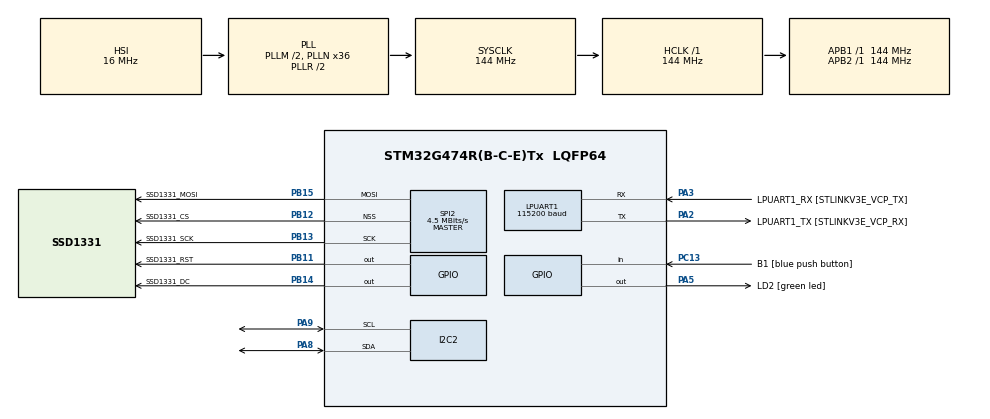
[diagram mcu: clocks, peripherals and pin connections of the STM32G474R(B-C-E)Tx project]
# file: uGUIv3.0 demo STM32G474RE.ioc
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Dma.Request0=SPI2_TX
Dma.SPI2_TX.0.Direction=DMA_MEMORY_TO_PERIPH
Dma.SPI2_TX.0.EventEnable=DISABLE
Dma.SPI2_TX.0.Instance=DMA1_Channel1
Dma.SPI2_TX.0.MemDataAlignment=DMA_MDATAALIGN_BYTE
Dma.SPI2_TX.0.MemInc=DMA_MINC_ENABLE
Dma.SPI2_TX.0.Mode=DMA_NORMAL
Dma.SPI2_TX.0.PeriphDataAlignment=DMA_PDATAALIGN_BYTE
Dma.SPI2_TX.0.PeriphInc=DMA_PINC_DISABLE
Dma.SPI2_TX.0.Polarity=HAL_DMAMUX_REQ_GEN_RISING
Dma.SPI2_TX.0.Priority=DMA_PRIORITY_MEDIUM
Dma.SPI2_TX.0.RequestNumber=1
Dma.SPI2_TX.0.SignalID=NONE
Dma.SPI2_TX.0.SyncEnable=DISABLE
Dma.SPI2_TX.0.SyncPolarity=HAL_DMAMUX_SYNC_NO_EVENT
Dma.SPI2_TX.0.SyncRequestNumber=1
Dma.SPI2_TX.0.SyncSignalID=NONE
FREERTOS.Tasks01=defaultTask,0,1024,StartDefaultTask,Default,NULL,Dynamic,NULL,NULL;updateDisplay,0,256,StartUpdate,Default,NULL,Dynamic,NULL,NULL
FREERTOS.configCHECK_FOR_STACK_OVERFLOW=2
FREERTOS.configGENERATE_RUN_TIME_STATS=1
FREERTOS.configRECORD_STACK_HIGH_ADDRESS=1
FREERTOS.configTOTAL_HEAP_SIZE=6502
FREERTOS.configUSE_MALLOC_FAILED_HOOK=1
FREERTOS.configUSE_STATS_FORMATTING_FUNCTIONS=1
FREERTOS.configUSE_TICK_HOOK=0
FREERTOS.configUSE_TRACE_FACILITY=1
I2C2.Timing=0x20B0D9FF
LPUART1.BaudRate=115200
LPUART1.WordLength=UART_WORDLENGTH_8B
Mcu.Family=STM32G4
Mcu.Name=STM32G474R(B-C-E)Tx
Mcu.Package=LQFP64
NVIC.DMA1_Channel1_IRQn=true\:5\:0\:false\:false\:true\:true\:false\:true
NVIC.PriorityGroup=NVIC_PRIORITYGROUP_4
NVIC.TIM1_TRG_COM_TIM17_IRQn=true\:5\:0\:false\:false\:true\:true\:true\:true
NVIC.TIM6_DAC_IRQn=true\:0\:0\:false\:false\:true\:false\:false\:true
NVIC.TimeBase=TIM6_DAC_IRQn
NVIC.TimeBaseIP=TIM6
PA13.GPIO_Label=T_SWDIO
PA13.Mode=Serial_Wire
PA13.Signal=SYS_JTMS-SWDIO
PA14.GPIO_Label=T_SWCLK
PA14.Mode=Serial_Wire
PA14.Signal=SYS_JTCK-SWCLK
PA2.GPIO_Label=LPUART1_TX [STLINKV3E_VCP_RX]
PA2.Mode=Asynchronous
PA2.Signal=LPUART1_TX
PA3.GPIO_Label=LPUART1_RX [STLINKV3E_VCP_TX]
PA3.Mode=Asynchronous
PA3.Signal=LPUART1_RX
PA5.GPIO_Label=LD2 [green led]
PA5.Signal=GPIO_Output
PA8.Mode=I2C
PA8.Signal=I2C2_SDA
PA9.Mode=I2C
PA9.Signal=I2C2_SCL
PB11.GPIO_Label=SSD1331_RST
PB11.Signal=GPIO_Output
PB12.GPIO_Label=SSD1331_CS
PB12.GPIO_PuPd=GPIO_PULLUP
PB12.Mode=NSS_Signal_Hard_Output
PB12.Signal=SPI2_NSS
PB13.GPIO_Label=SSD1331_SCK
PB13.Mode=TX_Only_Simplex_Unidirect_Master
PB13.Signal=SPI2_SCK
PB14.GPIO_Label=SSD1331_DC
PB14.Signal=GPIO_Output
PB15.GPIO_Label=SSD1331_MOSI
PB15.Mode=TX_Only_Simplex_Unidirect_Master
PB15.Signal=SPI2_MOSI
PB3.GPIO_Label=T_SWO
PB3.Signal=SYS_JTDO-SWO
PC13.GPIO_Label=B1 [blue push button]
PC13.Signal=GPIO_Input
PC14-OSC32_IN.Mode=LSE-External-Oscillator
PC14-OSC32_IN.Signal=RCC_OSC32_IN
PC15-OSC32_OUT.Mode=LSE-External-Oscillator
PC15-OSC32_OUT.Signal=RCC_OSC32_OUT
PF0-OSC_IN.Mode=HSE-External-Oscillator
PF0-OSC_IN.Signal=RCC_OSC_IN
PF1-OSC_OUT.Mode=HSE-External-Oscillator
PF1-OSC_OUT.Signal=RCC_OSC_OUT
ProjectManager.HeapSize=0x200
ProjectManager.StackSize=0x400
ProjectManager.TargetToolchain=STM32CubeIDE
RCC.ADC12Freq_Value=144000000
RCC.ADC345Freq_Value=144000000
RCC.AHBFreq_Value=144000000
RCC.APB1Freq_Value=144000000
RCC.APB1TimFreq_Value=144000000
RCC.APB2Freq_Value=144000000
RCC.APB2TimFreq_Value=144000000
RCC.CortexFreq_Value=144000000
RCC.EXTERNAL_CLOCK_VALUE=12288000
RCC.HCLKFreq_Value=144000000
RCC.HSE_VALUE=24000000
RCC.HSI48_VALUE=48000000
RCC.HSI_VALUE=16000000
RCC.PLLM=RCC_PLLM_DIV2
RCC.PLLN=36
RCC.PLLQ=RCC_PLLQ_DIV6
RCC.RTCClockSelection=RCC_RTCCLKSOURCE_LSE
RCC.SYSCLKFreq_VALUE=144000000
RCC.SYSCLKSource=RCC_SYSCLKSOURCE_PLLCLK
RCC.USBFreq_Value=48000000
RCC.VCOOutputFreq_Value=288000000
SPI2.BaudRatePrescaler=SPI_BAUDRATEPRESCALER_32
SPI2.CalculateBaudRate=4.5 MBits/s
SPI2.DataSize=SPI_DATASIZE_8BIT
SPI2.Direction=SPI_DIRECTION_2LINES
SPI2.Mode=SPI_MODE_MASTER
SPI2.VirtualNSS=VM_NSSHARD
SPI2.VirtualType=VM_MASTER
TIM17.PeriodNoDither=1440
VP_FREERTOS_VS_CMSIS_V1.Mode=CMSIS_V1
VP_SYS_VS_DBSignals.Mode=DisableDeadBatterySignals
VP_SYS_VS_tim6.Mode=TIM6
VP_TIM17_VS_ClockSourceINT.Mode=Enable_Timer
board=NUCLEO-G474RE

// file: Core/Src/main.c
/* USER CODE BEGIN Header */
/**
 ******************************************************************************
 * @file           : main.c
 * @brief          : Main program body
 ******************************************************************************
 * @attention
 *
 * <h2><center>&copy; Copyright (c) 2020 STMicroelectronics.
 * All rights reserved.</center></h2>
 *
 * This software component is licensed by ST under BSD 3-Clause license,
 * the "License"; You may not use this file except in compliance with the
 * License. You may obtain a copy of the License at:
 *                        opensource.org/licenses/BSD-3-Clause
 *
 ******************************************************************************
 */
/* USER CODE END Header */

#include <image.h>
#include "main.h"
#include "cmsis_os.h"

/* USER CODE BEGIN Includes */

#include "stdio.h"
#include "ssd1331.h"
#include "ugui.h"
// #include "image.h"

/* USER CODE END Includes */

I2C_HandleTypeDef hi2c2;

UART_HandleTypeDef hlpuart1;

SPI_HandleTypeDef hspi2;
DMA_HandleTypeDef hdma_spi2_tx;

TIM_HandleTypeDef htim17;

osThreadId defaultTaskHandle;
osThreadId updateDisplayHandle;

void SystemClock_Config(void);
static void MX_GPIO_Init(void);
static void MX_DMA_Init(void);
static void MX_LPUART1_UART_Init(void);
static void MX_I2C2_Init(void);
static void MX_SPI2_Init(void);
static void MX_TIM17_Init(void);
void StartDefaultTask(void const * argument);
void StartUpdate(void const * argument);

/* USER CODE BEGIN 0 */

int uxTopUsedPriority = configMAX_PRIORITIES - 1; // FreeRTOS/OCD debug workaround

volatile unsigned long ulHighFrequencyTimerTicks = 0;

unsigned long getRunTimeCounterValue(void)
{
	return ulHighFrequencyTimerTicks;
}

/* GUI structure */
UG_GUI gui;

/* Touch structure */
//static TP_STATE *TP_State;
/* Some defines */
#define MAX_OBJECTS        10
#define TOGGLE_GREEN_LED   HAL_GPIO_TogglePin(LD2_GPIO_Port, LD2_Pin);
//#define TOGGLE_RED_LED     GPIO_ToggleBits(GPIOG,GPIO_Pin_14);

/* Window 1 */
UG_WINDOW window_1;
UG_OBJECT obj_buff_wnd_1[MAX_OBJECTS];
UG_BUTTON button1_1;
UG_BUTTON button1_2;
UG_BUTTON button1_3;
UG_BUTTON button1_4;
UG_BUTTON button1_5;
UG_BUTTON button1_6;

/* Window 2 */
UG_WINDOW window_2;
UG_OBJECT obj_buff_wnd_2[MAX_OBJECTS];
UG_BUTTON button2_1;
UG_TEXTBOX textbox2_1;
UG_TEXTBOX textbox2_2;
UG_IMAGE image2_1;

/* Window 3 */
UG_WINDOW window_3;
UG_OBJECT obj_buff_wnd_3[MAX_OBJECTS];
UG_BUTTON button3_1;
UG_TEXTBOX textbox3_1;

/* FSM */
#define STATE_MAIN_MENU                0
#define STATE_BENCHMARK_RUN            1
#define STATE_BENCHMARK_RESULT         2
volatile UG_U32 state;
volatile UG_U32 next_state;

/* Benchmark */
volatile UG_U32 timer;
volatile UG_U32 hw_acc = 1;
char result_str[30];
UG_S16 xs, ys;
UG_S16 xe, ye;
UG_COLOR c;

/* Callback function for the main menu */
void window_1_callback(UG_MESSAGE *msg)
{
	if (msg->type == MSG_TYPE_OBJECT)
	{
		if (msg->id == OBJ_TYPE_BUTTON)
		{
			switch (msg->sub_id)
			{
			case BTN_ID_0: /* Toggle green LED */
			{
				TOGGLE_GREEN_LED
				;
				break;
			}
			case BTN_ID_1: /* Toggle red LED */
			{
//				TOGGLE_RED_LED
				;
				break;
			}
			case BTN_ID_2: /* Show uGUI info */
			{
				UG_WindowShow(&window_2);
				break;
			}
			case BTN_ID_3: /* Toggle hardware acceleration */
			{
				if (!hw_acc)
				{
					UG_ButtonSetForeColor(&window_1, BTN_ID_3, C_RED);
					UG_ButtonSetText(&window_1, BTN_ID_3, "HW_ACC\nOFF");
					UG_DriverEnable( DRIVER_DRAW_LINE);
					UG_DriverEnable( DRIVER_FILL_FRAME);
				}
				else
				{
					UG_ButtonSetForeColor(&window_1, BTN_ID_3, C_BLUE);
					UG_ButtonSetText(&window_1, BTN_ID_3, "HW_ACC\nON");
					UG_DriverDisable( DRIVER_DRAW_LINE);
					UG_DriverDisable( DRIVER_FILL_FRAME);
				}
				hw_acc = !hw_acc;
				break;
			}
			case BTN_ID_4: /* Start benchmark */
			{
				next_state = STATE_BENCHMARK_RUN;
				break;
			}
			case BTN_ID_5: /* Resize window */
			{
				static UG_U32 tog;

				if (!tog)
				{
					UG_WindowResize(&window_1, 0, 40, 239, 319 - 40);
				}
				else
				{
					UG_WindowResize(&window_1, 0, 0, 239, 319);
				}
				tog = !tog;
				break;
			}
			}
		}
	}
}

/* Callback function for the info window */
void window_2_callback(UG_MESSAGE *msg)
{
	if (msg->type == MSG_TYPE_OBJECT)
	{
		if (msg->id == OBJ_TYPE_BUTTON)
		{
			switch (msg->sub_id)
			{
			case BTN_ID_0:
			{
				UG_WindowHide(&window_2);
				break;
			}
			}
		}
	}
}

/* Callback function for the result window */
void window_3_callback(UG_MESSAGE *msg)
{
	if (msg->type == MSG_TYPE_OBJECT)
	{
		if (msg->id == OBJ_TYPE_BUTTON)
		{
			switch (msg->sub_id)
			{
			/* OK button */
			case BTN_ID_0:
			{
				UG_WindowShow(&window_1);
				break;
			}
			}
		}
	}
}

/* better rand() function */
UG_U32 randx(void)
{
	static UG_U32 z1 = 12345, z2 = 12345, z3 = 12345, z4 = 12345;
	UG_U32 b;
	b = ((z1 << 6) ^ z1) >> 13;
	z1 = ((z1 & 4294967294U) << 18) ^ b;
	b = ((z2 << 2) ^ z2) >> 27;
	z2 = ((z2 & 4294967288U) << 2) ^ b;
	b = ((z3 << 13) ^ z3) >> 21;
	z3 = ((z3 & 4294967280U) << 7) ^ b;
	b = ((z4 << 3) ^ z4) >> 12;
	z4 = ((z4 & 4294967168U) << 13) ^ b;
	return (z1 ^ z2 ^ z3 ^ z4);
}

/**
 * @brief  Tx Transfer completed callback.
 * @param  hspi pointer to a SPI_HandleTypeDef structure that contains
 *               the configuration information for SPI module.
 * @retval None
 */
void HAL_SPI_TxCpltCallback(SPI_HandleTypeDef *hspi)
{
	/* Prevent unused argument(s) compilation warning */
	UNUSED(hspi);

	spi_event_handler();
}

/* USER CODE END 0 */

int main(void)
{

  /* MCU Configuration--------------------------------------------------------*/

  /* Reset of all peripherals, Initializes the Flash interface and the Systick. */
  HAL_Init();

  /* Configure the system clock */
  SystemClock_Config();

  /* Initialize all configured peripherals */
  MX_GPIO_Init();
  MX_DMA_Init();
  MX_LPUART1_UART_Init();
  MX_I2C2_Init();
  MX_SPI2_Init();
  MX_TIM17_Init();
  /* USER CODE BEGIN 2 */

	HAL_TIM_Base_Start_IT(&htim17);

	/* Init uGUI */
	UG_Init(&gui, (void (*)(UG_S16, UG_S16, UG_COLOR)) pset, SSD1331_WIDTH, SSD1331_HEIGHT );

  /* USER CODE END 2 */

  /* Create the thread(s) */
  /* definition and creation of defaultTask */
  osThreadDef(defaultTask, StartDefaultTask, osPriorityNormal, 0, 1024);
  defaultTaskHandle = osThreadCreate(osThread(defaultTask), NULL);

  /* definition and creation of updateDisplay */
  osThreadDef(updateDisplay, StartUpdate, osPriorityNormal, 0, 256);
  updateDisplayHandle = osThreadCreate(osThread(updateDisplay), NULL);

  /* Start scheduler */
  osKernelStart();

  /* We should never get here as control is now taken by the scheduler */

  /* Infinite loop */
	while (1)
	{

	}
}

void SystemClock_Config(void)
{
  RCC_OscInitTypeDef RCC_OscInitStruct = {0};
  RCC_ClkInitTypeDef RCC_ClkInitStruct = {0};
  RCC_PeriphCLKInitTypeDef PeriphClkInit = {0};

  /** Configure the main internal regulator output voltage
  */
  HAL_PWREx_ControlVoltageScaling(PWR_REGULATOR_VOLTAGE_SCALE1);
  /** Initializes the CPU, AHB and APB busses clocks
  */
  RCC_OscInitStruct.OscillatorType = RCC_OSCILLATORTYPE_HSI;
  RCC_OscInitStruct.HSIState = RCC_HSI_ON;
  RCC_OscInitStruct.HSICalibrationValue = RCC_HSICALIBRATION_DEFAULT;
  RCC_OscInitStruct.PLL.PLLState = RCC_PLL_ON;
  RCC_OscInitStruct.PLL.PLLSource = RCC_PLLSOURCE_HSI;
  RCC_OscInitStruct.PLL.PLLM = RCC_PLLM_DIV2;
  RCC_OscInitStruct.PLL.PLLN = 36;
  RCC_OscInitStruct.PLL.PLLP = RCC_PLLP_DIV2;
  RCC_OscInitStruct.PLL.PLLQ = RCC_PLLQ_DIV6;
  RCC_OscInitStruct.PLL.PLLR = RCC_PLLR_DIV2;
  if (HAL_RCC_OscConfig(&RCC_OscInitStruct) != HAL_OK)
  {
    Error_Handler();
  }
  /** Initializes the CPU, AHB and APB busses clocks
  */
  RCC_ClkInitStruct.ClockType = RCC_CLOCKTYPE_HCLK|RCC_CLOCKTYPE_SYSCLK
                              |RCC_CLOCKTYPE_PCLK1|RCC_CLOCKTYPE_PCLK2;
  RCC_ClkInitStruct.SYSCLKSource = RCC_SYSCLKSOURCE_PLLCLK;
  RCC_ClkInitStruct.AHBCLKDivider = RCC_SYSCLK_DIV1;
  RCC_ClkInitStruct.APB1CLKDivider = RCC_HCLK_DIV1;
  RCC_ClkInitStruct.APB2CLKDivider = RCC_HCLK_DIV1;

  if (HAL_RCC_ClockConfig(&RCC_ClkInitStruct, FLASH_LATENCY_7) != HAL_OK)
  {
    Error_Handler();
  }
  /** Initializes the peripherals clocks
  */
  PeriphClkInit.PeriphClockSelection = RCC_PERIPHCLK_LPUART1|RCC_PERIPHCLK_I2C2;
  PeriphClkInit.Lpuart1ClockSelection = RCC_LPUART1CLKSOURCE_PCLK1;
  PeriphClkInit.I2c2ClockSelection = RCC_I2C2CLKSOURCE_PCLK1;
  if (HAL_RCCEx_PeriphCLKConfig(&PeriphClkInit) != HAL_OK)
  {
    Error_Handler();
  }
}

static void MX_I2C2_Init(void)
{

  hi2c2.Instance = I2C2;
  hi2c2.Init.Timing = 0x20B0D9FF;
  hi2c2.Init.OwnAddress1 = 0;
  hi2c2.Init.AddressingMode = I2C_ADDRESSINGMODE_7BIT;
  hi2c2.Init.DualAddressMode = I2C_DUALADDRESS_DISABLE;
  hi2c2.Init.OwnAddress2 = 0;
  hi2c2.Init.OwnAddress2Masks = I2C_OA2_NOMASK;
  hi2c2.Init.GeneralCallMode = I2C_GENERALCALL_DISABLE;
  hi2c2.Init.NoStretchMode = I2C_NOSTRETCH_DISABLE;
  if (HAL_I2C_Init(&hi2c2) != HAL_OK)
  {
    Error_Handler();
  }
  /** Configure Analogue filter
  */
  if (HAL_I2CEx_ConfigAnalogFilter(&hi2c2, I2C_ANALOGFILTER_ENABLE) != HAL_OK)
  {
    Error_Handler();
  }
  /** Configure Digital filter
  */
  if (HAL_I2CEx_ConfigDigitalFilter(&hi2c2, 0) != HAL_OK)
  {
    Error_Handler();
  }

}

static void MX_LPUART1_UART_Init(void)
{

  hlpuart1.Instance = LPUART1;
  hlpuart1.Init.BaudRate = 115200;
  hlpuart1.Init.WordLength = UART_WORDLENGTH_8B;
  hlpuart1.Init.StopBits = UART_STOPBITS_1;
  hlpuart1.Init.Parity = UART_PARITY_NONE;
  hlpuart1.Init.Mode = UART_MODE_TX_RX;
  hlpuart1.Init.HwFlowCtl = UART_HWCONTROL_NONE;
  hlpuart1.Init.OneBitSampling = UART_ONE_BIT_SAMPLE_DISABLE;
  hlpuart1.AdvancedInit.AdvFeatureInit = UART_ADVFEATURE_NO_INIT;
  if (HAL_UART_Init(&hlpuart1) != HAL_OK)
  {
    Error_Handler();
  }
  if (HAL_UARTEx_SetTxFifoThreshold(&hlpuart1, UART_TXFIFO_THRESHOLD_1_8) != HAL_OK)
  {
    Error_Handler();
  }
  if (HAL_UARTEx_SetRxFifoThreshold(&hlpuart1, UART_RXFIFO_THRESHOLD_1_8) != HAL_OK)
  {
    Error_Handler();
  }
  if (HAL_UARTEx_DisableFifoMode(&hlpuart1) != HAL_OK)
  {
    Error_Handler();
  }

}

static void MX_SPI2_Init(void)
{

  /* SPI2 parameter configuration*/
  hspi2.Instance = SPI2;
  hspi2.Init.Mode = SPI_MODE_MASTER;
  hspi2.Init.Direction = SPI_DIRECTION_2LINES;
  hspi2.Init.DataSize = SPI_DATASIZE_8BIT;
  hspi2.Init.CLKPolarity = SPI_POLARITY_LOW;
  hspi2.Init.CLKPhase = SPI_PHASE_1EDGE;
  hspi2.Init.NSS = SPI_NSS_HARD_OUTPUT;
  hspi2.Init.BaudRatePrescaler = SPI_BAUDRATEPRESCALER_32;
  hspi2.Init.FirstBit = SPI_FIRSTBIT_MSB;
  hspi2.Init.TIMode = SPI_TIMODE_DISABLE;
  hspi2.Init.CRCCalculation = SPI_CRCCALCULATION_DISABLE;
  hspi2.Init.CRCPolynomial = 7;
  hspi2.Init.CRCLength = SPI_CRC_LENGTH_DATASIZE;
  hspi2.Init.NSSPMode = SPI_NSS_PULSE_ENABLE;
  if (HAL_SPI_Init(&hspi2) != HAL_OK)
  {
    Error_Handler();
  }

}

static void MX_TIM17_Init(void)
{

  htim17.Instance = TIM17;
  htim17.Init.Prescaler = 0;
  htim17.Init.CounterMode = TIM_COUNTERMODE_UP;
  htim17.Init.Period = 1440;
  htim17.Init.ClockDivision = TIM_CLOCKDIVISION_DIV1;
  htim17.Init.RepetitionCounter = 0;
  htim17.Init.AutoReloadPreload = TIM_AUTORELOAD_PRELOAD_DISABLE;
  if (HAL_TIM_Base_Init(&htim17) != HAL_OK)
  {
    Error_Handler();
  }

}

static void MX_DMA_Init(void)
{

  /* DMA controller clock enable */
  __HAL_RCC_DMAMUX1_CLK_ENABLE();
  __HAL_RCC_DMA1_CLK_ENABLE();

  /* DMA interrupt init */
  /* DMA1_Channel1_IRQn interrupt configuration */
  HAL_NVIC_SetPriority(DMA1_Channel1_IRQn, 5, 0);
  HAL_NVIC_EnableIRQ(DMA1_Channel1_IRQn);

}

static void MX_GPIO_Init(void)
{
  GPIO_InitTypeDef GPIO_InitStruct = {0};

  /* GPIO Ports Clock Enable */
  __HAL_RCC_GPIOC_CLK_ENABLE();
  __HAL_RCC_GPIOF_CLK_ENABLE();
  __HAL_RCC_GPIOA_CLK_ENABLE();
  __HAL_RCC_GPIOB_CLK_ENABLE();

  /*Configure GPIO pin Output Level */
  HAL_GPIO_WritePin(LD2_GPIO_Port, LD2_Pin, GPIO_PIN_RESET);

  /*Configure GPIO pin Output Level */
  HAL_GPIO_WritePin(GPIOB, SSD1331_RST_Pin|SSD1331_DC_Pin, GPIO_PIN_RESET);

  /*Configure GPIO pin : B1_Pin */
  GPIO_InitStruct.Pin = B1_Pin;
  GPIO_InitStruct.Mode = GPIO_MODE_INPUT;
  GPIO_InitStruct.Pull = GPIO_NOPULL;
  HAL_GPIO_Init(B1_GPIO_Port, &GPIO_InitStruct);

  /*Configure GPIO pin : LD2_Pin */
  GPIO_InitStruct.Pin = LD2_Pin;
  GPIO_InitStruct.Mode = GPIO_MODE_OUTPUT_PP;
  GPIO_InitStruct.Pull = GPIO_NOPULL;
  GPIO_InitStruct.Speed = GPIO_SPEED_FREQ_LOW;
  HAL_GPIO_Init(LD2_GPIO_Port, &GPIO_InitStruct);

  /*Configure GPIO pins : SSD1331_RST_Pin SSD1331_DC_Pin */
  GPIO_InitStruct.Pin = SSD1331_RST_Pin|SSD1331_DC_Pin;
  GPIO_InitStruct.Mode = GPIO_MODE_OUTPUT_PP;
  GPIO_InitStruct.Pull = GPIO_NOPULL;
  GPIO_InitStruct.Speed = GPIO_SPEED_FREQ_LOW;
  HAL_GPIO_Init(GPIOB, &GPIO_InitStruct);

}

void StartDefaultTask(void const * argument)
{
  /* USER CODE BEGIN 5 */

	ssd1331_init();

	/* Clear Screen */
	UG_FillScreen( C_BLACK);

	/* Create Window 1 */
	UG_WindowCreate(&window_1, obj_buff_wnd_1, MAX_OBJECTS, window_1_callback);
	UG_WindowSetTitleText(&window_1, "uGUI STM32F474RE");
	UG_WindowSetTitleTextFont(&window_1, &FONT_6X10);

	/* Create some Buttons */
	UG_ButtonCreate(&window_1, &button1_1, BTN_ID_0, 3, 3, 33, 20);
	UG_ButtonCreate(&window_1, &button1_2, BTN_ID_1, 3, 26, 33, 43);
	UG_ButtonCreate(&window_1, &button1_3, BTN_ID_2, 3, 50, 33, 67);
	UG_ButtonCreate(&window_1, &button1_4, BTN_ID_3, 40, 3,
			UG_WindowGetInnerWidth(&window_1) - 3, 20);
	UG_ButtonCreate(&window_1, &button1_5, BTN_ID_4, 40, 26,
			UG_WindowGetInnerWidth(&window_1) - 3, 43);
	UG_ButtonCreate(&window_1, &button1_6, BTN_ID_5, 40, 50,
			UG_WindowGetInnerWidth(&window_1) - 10, 67);

	/* Configure Button 1 */
	UG_ButtonSetFont(&window_1, BTN_ID_0, &FONT_4X6);
	UG_ButtonSetBackColor(&window_1, BTN_ID_0, C_GREEN);
	UG_ButtonSetText(&window_1, BTN_ID_0, "Green");
	/* Configure Button 2 */
	UG_ButtonSetFont(&window_1, BTN_ID_1, &FONT_4X6);
	UG_ButtonSetBackColor(&window_1, BTN_ID_1, C_RED);
	UG_ButtonSetText(&window_1, BTN_ID_1, "Red");
	/* Configure Button 3 */
	UG_ButtonSetFont(&window_1, BTN_ID_2, &FONT_4X6);
	UG_ButtonSetText(&window_1, BTN_ID_2, "About uGUI");
	UG_WindowShow(&window_1);
	/* Configure Button 4 */
	UG_ButtonSetFont(&window_1, BTN_ID_3, &FONT_4X6);
	UG_ButtonSetForeColor(&window_1, BTN_ID_3, C_RED);
	UG_ButtonSetText(&window_1, BTN_ID_3, "HW_ACC OFF");
	/* Configure Button 5 */
	UG_ButtonSetFont(&window_1, BTN_ID_4, &FONT_4X6);
	UG_ButtonSetText(&window_1, BTN_ID_4, "Start Benchmark");
	/* Configure Button 6 */
	UG_ButtonSetFont(&window_1, BTN_ID_5, &FONT_4X6);
	UG_ButtonSetText(&window_1, BTN_ID_5, "Resize Window");

	/* -------------------------------------------------------------------------------- */
	/* Create Window 2 (uGUI Info)                                                      */
	/* -------------------------------------------------------------------------------- */
	UG_WindowCreate(&window_2, obj_buff_wnd_2, MAX_OBJECTS, window_2_callback);
	UG_WindowSetTitleText(&window_2, "Info");
	UG_WindowSetTitleTextFont(&window_2, &FONT_6X10);
	UG_WindowResize(&window_2, 7, 13, 73, 93);

	/* Create Button 1 */
	UG_ButtonCreate(&window_2, &button2_1, BTN_ID_0, 7, 44,
			UG_WindowGetInnerWidth(&window_2) - 13, 63);
	UG_ButtonSetFont(&window_2, BTN_ID_0, &FONT_5X12);
	UG_ButtonSetText(&window_2, BTN_ID_0, "OK!");

	/* Create Textbox 1 */
	UG_TextboxCreate(&window_2, &textbox2_1, TXB_ID_0, 3, 3,
			UG_WindowGetInnerWidth(&window_2) - 3, 20);
	UG_TextboxSetFont(&window_2, TXB_ID_0, &FONT_5X8);
	UG_TextboxSetText(&window_2, TXB_ID_0, "uGUI v0.3");
	UG_TextboxSetAlignment(&window_2, TXB_ID_0, ALIGN_TOP_CENTER);

	/* Create Textbox 2 */
	UG_TextboxCreate(&window_2, &textbox2_2, TXB_ID_1, 3, 15,
			UG_WindowGetInnerWidth(&window_2) - 3, 42);
	UG_TextboxSetFont(&window_2, TXB_ID_1, &FONT_4X6);
	UG_TextboxSetText(&window_2, TXB_ID_1, "www.embeddedlightning.com");
	UG_TextboxSetAlignment(&window_2, TXB_ID_1, ALIGN_BOTTOM_CENTER);
	UG_TextboxSetForeColor(&window_2, TXB_ID_1, C_BLUE);
	UG_TextboxSetHSpace(&window_2, TXB_ID_1, 1);

	/* Create Image 1 */
	UG_ImageCreate(&window_2, &image2_1, IMG_ID_0,
			(UG_WindowGetInnerWidth(&window_2) >> 1) - (logo.width >> 1), 13, 0,
			0);
	UG_ImageSetBMP(&window_2, IMG_ID_0, &logo);

	/* -------------------------------------------------------------------------------- */
	/* Create Window 3 (Benchmark Result)                                               */
	/* -------------------------------------------------------------------------------- */
	UG_WindowCreate(&window_3, obj_buff_wnd_3, MAX_OBJECTS, window_3_callback);
	UG_WindowSetTitleText(&window_3, "Benchmark Result");
	UG_WindowSetTitleTextFont(&window_3, &FONT_8X12);
	UG_WindowResize(&window_3, 7, 30, 73, 77);

	/* Create Textbox 1 */
	UG_TextboxCreate(&window_3, &textbox3_1, TXB_ID_0, 2, 3,
			UG_WindowGetInnerWidth(&window_3) - 2, 20);
	UG_TextboxSetFont(&window_3, TXB_ID_0, &FONT_5X8);
	UG_TextboxSetText(&window_3, TXB_ID_0, "Result:\n99999 frm/sec");
	UG_TextboxSetAlignment(&window_3, TXB_ID_0, ALIGN_TOP_CENTER);

	/* Create Button 1 */
	UG_ButtonCreate(&window_3, &button3_1, BTN_ID_0, 13, 22,
			UG_WindowGetInnerWidth(&window_3) - 13, 40);
	UG_ButtonSetFont(&window_3, BTN_ID_0, &FONT_4X6);
	UG_ButtonSetText(&window_3, BTN_ID_0, "OK!");

	/* -------------------------------------------------------------------------------- */
	/* Start demo application                                                           */
	/* -------------------------------------------------------------------------------- */
	/* Show Window 1 */
	UG_WindowShow(&window_1);
	UG_WaitForUpdate();
	osDelay(2000);

	/* Initialize FSM */
	next_state = STATE_MAIN_MENU;
	state = !STATE_MAIN_MENU;

	/* Reset the frame counter */
	uint32_t frm_cnt = 0;

	TickType_t ticks = xTaskGetTickCount();

	/* Run the benchmark */
	while (frm_cnt < 1000)
	{
		xs = randx() % SSD1331_WIDTH;
		xe = randx() % SSD1331_WIDTH;
		ys = randx() % SSD1331_HEIGHT;
		ye = randx() % SSD1331_HEIGHT;
		c = randx() % 0xFFFFFF;
		UG_FillFrame(xs, ys, xe, ye, c);
		frm_cnt++;
		osDelay(30);
	}

	UG_WindowShow(&window_2);
	UG_WaitForUpdate();

	osDelay(2000);

	sprintf(result_str, "Result:\n%u frm/sec",
			1000000 / (xTaskGetTickCount() - ticks));
	UG_TextboxSetText(&window_3, TXB_ID_0, result_str);

	/* Show benchmark result */
	UG_WindowShow(&window_3);

	/* Infinite loop */
	for (;;)
	{
		osDelay(1);
	}
  /* USER CODE END 5 */
}

void StartUpdate(void const * argument)
{
  /* USER CODE BEGIN StartUpdate */

	osDelay(100);

	/* Infinite loop */
	for (;;)
	{
		UG_Update();
		ssd1331_update();
		osDelay(30);
	}
  /* USER CODE END StartUpdate */
}

void HAL_TIM_PeriodElapsedCallback(TIM_HandleTypeDef *htim)
{
  /* USER CODE BEGIN Callback 0 */
	if (htim->Instance == TIM17)
	{
		ulHighFrequencyTimerTicks++;
	}

  /* USER CODE END Callback 0 */
  if (htim->Instance == TIM6) {
    HAL_IncTick();
  }
}

void Error_Handler(void)
{
}

/************************ (C) COPYRIGHT STMicroelectronics *****END OF FILE****/

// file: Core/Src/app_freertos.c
/* USER CODE BEGIN Header */
/**
  ******************************************************************************
  * File Name          : app_freertos.c
  * Description        : Code for freertos applications
  ******************************************************************************
  * @attention
  *
  * <h2><center>&copy; Copyright (c) 2020 STMicroelectronics.
  * All rights reserved.</center></h2>
  *
  * This software component is licensed by ST under Ultimate Liberty license
  * SLA0044, the "License"; You may not use this file except in compliance with
  * the License. You may obtain a copy of the License at:
  *                             www.st.com/SLA0044
  *
  ******************************************************************************
  */
/* USER CODE END Header */

#include "FreeRTOS.h"
#include "task.h"
#include "main.h"

/* Hook prototypes */
void configureTimerForRunTimeStats(void);
unsigned long getRunTimeCounterValue(void);
void vApplicationStackOverflowHook(xTaskHandle xTask, signed char *pcTaskName);
void vApplicationMallocFailedHook(void);

/* USER CODE BEGIN 1 */
/* Functions needed when configGENERATE_RUN_TIME_STATS is on */
__weak void configureTimerForRunTimeStats(void)
{

}

__weak unsigned long getRunTimeCounterValue(void)
{
return 0;
}
/* USER CODE END 1 */

/* USER CODE BEGIN 4 */
__weak void vApplicationStackOverflowHook(xTaskHandle xTask, signed char *pcTaskName)
{
   /* Run time stack overflow checking is performed if
   configCHECK_FOR_STACK_OVERFLOW is defined to 1 or 2. This hook function is
   called if a stack overflow is detected. */
}
/* USER CODE END 4 */

/* USER CODE BEGIN 5 */
__weak void vApplicationMallocFailedHook(void)
{
   /* vApplicationMallocFailedHook() will only be called if
   configUSE_MALLOC_FAILED_HOOK is set to 1 in FreeRTOSConfig.h. It is a hook
   function that will get called if a call to pvPortMalloc() fails.
   pvPortMalloc() is called internally by the kernel whenever a task, queue,
   timer or semaphore is created. It is also called by various parts of the
   demo application. If heap_1.c or heap_2.c are used, then the size of the
   heap available to pvPortMalloc() is defined by configTOTAL_HEAP_SIZE in
   FreeRTOSConfig.h, and the xPortGetFreeHeapSize() API function can be used
   to query the size of free heap space that remains (although it does not
   provide information on how the remaining heap might be fragmented). */
}
/* USER CODE END 5 */

/************************ (C) COPYRIGHT STMicroelectronics *****END OF FILE****/
